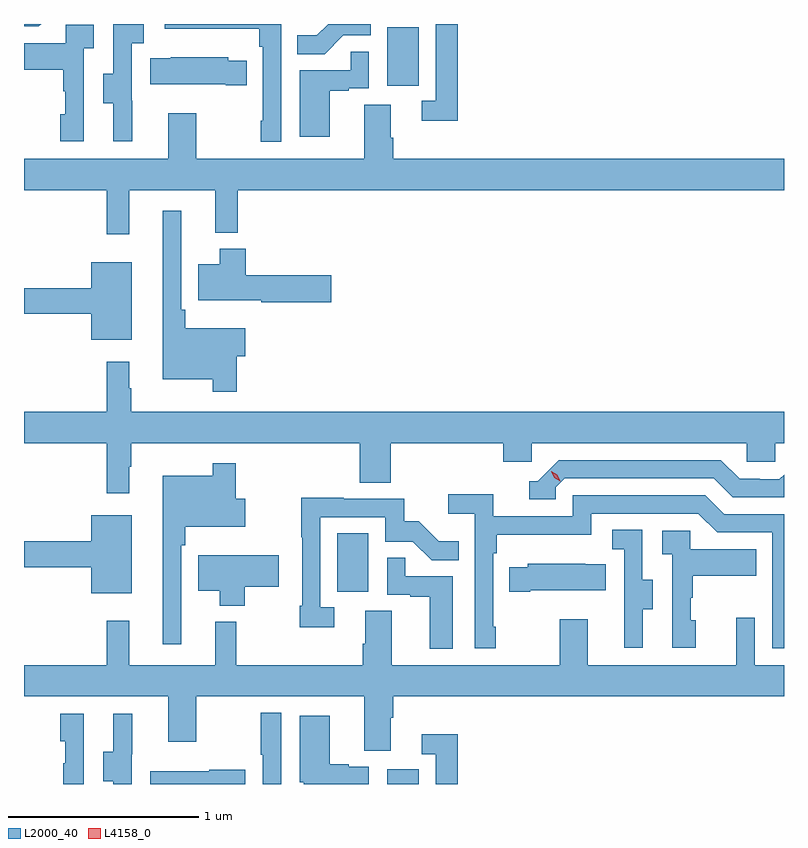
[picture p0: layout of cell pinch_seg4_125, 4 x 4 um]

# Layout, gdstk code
import gdstk
lib = gdstk.Library(unit=1e-6, precision=1e-09)
def R(c, l, rs):  # rectangles x0, y0, x1, y1
    for r in rs: c.add(gdstk.rectangle(r[:2], r[2:], *l))
def P(c, l, *ps):  # polygons
    for p in ps: c.add(gdstk.Polygon(p, *l))
L2000_40 = (2000, 40)
L4158_0 = (4158, 0)

pinch_seg4_125 = lib.new_cell('pinch_seg4_125')
R(pinch_seg4_125, L2000_40, [(1046.258,789.698,1046.422,789.775), (1045.994,790.71,1046.158,791.017), (1046.258,793.374,1046.422,793.681)])
P(pinch_seg4_125, L2000_40, [(1045.698,793.698),(1045.086,793.698),(1045.086,793.673),(1045.582,793.673),(1045.582,793.577),(1045.602,793.577),(1045.602,793.189),(1045.59,793.189),(1045.59,793.077),(1045.698,793.077)],
  [(1044.435,793.698),(1044.345,793.698),(1044.345,793.686),(1044.423,793.686)],
  [(1044.914,793.293),(1044.912,793.293),(1044.912,793.597),(1044.976,793.597),(1044.976,793.698),(1044.816,793.698),(1044.816,793.437),(1044.761,793.437),(1044.761,793.282),(1044.815,793.282),(1044.815,793.08),(1044.914,793.08)],
  [(1046.627,793.698),(1046.511,793.698),(1046.511,793.293),(1046.439,793.293),(1046.439,793.188),(1046.627,793.188)],
  [(1046.025,793.638),(1046.169,793.638),(1046.169,793.698),(1045.946,793.698),(1045.887,793.639),(1045.783,793.639),(1045.783,793.54),(1045.927,793.54)],
  [(1044.66,793.571),(1044.712,793.571),(1044.712,793.695),(1044.564,793.695),(1044.564,793.597),(1044.345,793.597),(1044.345,793.457),(1044.552,793.457),(1044.552,793.343),(1044.562,793.343),(1044.562,793.224),(1044.536,793.224),(1044.536,793.08),(1044.66,793.08)],
  [(1045.954,793.347),(1046.054,793.347),(1046.054,793.359),(1046.16,793.359),(1046.16,793.553),(1046.065,793.553),(1046.065,793.455),(1045.796,793.455),(1045.796,793.104),(1045.954,793.104)],
  [(1045.517,793.504),(1045.419,793.504),(1045.419,793.522),(1045.117,793.522),(1045.117,793.519),(1045.009,793.519),(1045.009,793.382),(1045.406,793.382),(1045.406,793.375),(1045.517,793.375)],
  [(1044.899,792.824),(1045.352,792.824),(1045.352,792.599),(1045.469,792.599),(1045.469,792.824),(1048.345,792.824),(1048.345,792.988),(1046.288,792.988),(1046.288,793.1),(1046.275,793.1),(1046.275,793.274),(1046.135,793.274),(1046.135,792.988),(1045.251,792.988),(1045.251,793.228),(1045.103,793.228),(1045.103,792.988),(1044.345,792.988),(1044.345,792.824),(1044.781,792.824),(1044.781,792.591),(1044.899,792.591)],
  [(1045.466,791.95),(1045.51,791.95),(1045.51,792.097),(1045.193,792.097),(1045.193,792.193),(1045.173,792.193),(1045.173,792.715),(1045.076,792.715),(1045.076,791.828),(1045.338,791.828),(1045.338,791.763),(1045.466,791.763)],
  [(1045.963,792.375),(1045.511,792.375),(1045.511,792.514),(1045.376,792.514),(1045.376,792.433),(1045.262,792.433),(1045.262,792.245),(1045.594,792.245),(1045.594,792.233),(1045.963,792.233)],
  [(1044.913,792.445),(1044.698,792.445),(1044.698,792.308),(1044.345,792.308),(1044.345,792.172),(1044.698,792.172),(1044.698,792.035),(1044.913,792.035)],
  [(1044.898,791.369),(1044.91,791.369),(1044.91,791.492),(1046.111,791.492),(1046.111,791.284),(1046.276,791.284),(1046.276,791.492),(1046.867,791.492),(1046.867,791.394),(1047.018,791.394),(1047.018,791.492),(1048.149,791.492),(1048.149,791.394),(1048.299,791.394),(1048.299,791.492),(1048.345,791.492),(1048.345,791.656),(1044.91,791.656),(1044.91,791.78),(1044.898,791.78),(1044.898,791.92),(1044.781,791.92),(1044.781,791.656),(1044.345,791.656),(1044.345,791.492),(1044.781,791.492),(1044.781,791.229),(1044.898,791.229)],
  [(1047.144,791.259),(1047.192,791.307),(1047.975,791.307),(1048.074,791.208),(1048.345,791.208),(1048.345,791.326),(1048.321,791.301),(1048.218,791.301),(1048.218,791.304),(1048.111,791.304),(1048.012,791.403),(1047.159,791.403),(1047.048,791.292),(1047.005,791.292),(1047.005,791.196),(1047.144,791.196)],
  [(1045.173,790.955),(1045.193,790.955),(1045.193,791.051),(1045.51,791.051),(1045.51,791.199),(1045.459,791.199),(1045.459,791.386),(1045.338,791.386),(1045.338,791.32),(1045.076,791.32),(1045.076,790.434),(1045.173,790.434)],
  [(1046.827,790.525),(1046.814,790.525),(1046.814,790.913),(1046.834,790.913),(1046.834,791.009),(1047.33,791.009),(1047.33,791.121),(1047.894,791.121),(1047.993,791.022),(1048.284,791.022),(1048.284,790.413),(1048.345,790.413),(1048.345,791.118),(1048.03,791.118),(1047.931,791.217),(1047.234,791.217),(1047.234,791.106),(1046.816,791.106),(1046.816,791.222),(1046.577,791.222),(1046.577,791.12),(1046.718,791.12),(1046.718,790.413),(1046.827,790.413)],
  [(1045.978,790.629),(1045.905,790.629),(1045.905,791.103),(1046.247,791.103),(1046.247,790.974),(1046.392,790.974),(1046.49,790.876),(1046.633,790.876),(1046.633,790.975),(1046.529,790.975),(1046.422,791.082),(1046.346,791.082),(1046.346,791.199),(1046.027,791.199),(1046.027,791.204),(1045.804,791.204),(1045.804,790.996),(1045.809,790.996),(1045.809,790.636),(1045.797,790.636),(1045.797,790.524),(1045.978,790.524)],
  [(1044.913,791.113),(1044.698,791.113),(1044.698,790.976),(1044.345,790.976),(1044.345,790.84),(1044.698,790.84),(1044.698,790.703),(1044.913,790.703)],
  [(1047.601,790.618),(1047.655,790.618),(1047.655,790.773),(1047.6,790.773),(1047.6,791.036),(1047.441,791.036),(1047.441,790.933),(1047.504,790.933),(1047.504,790.629),(1047.503,790.629),(1047.503,790.416),(1047.601,790.416)],
  [(1047.88,790.56),(1047.855,790.56),(1047.855,790.679),(1047.865,790.679),(1047.865,790.793),(1048.199,790.793),(1048.199,790.933),(1047.852,790.933),(1047.852,791.031),(1047.705,791.031),(1047.705,790.907),(1047.756,790.907),(1047.756,790.416),(1047.88,790.416)],
  [(1045.506,790.735),(1045.687,790.735),(1045.687,790.903),(1045.262,790.903),(1045.262,790.715),(1045.376,790.715),(1045.376,790.637),(1045.506,790.637)],
  [(1046.602,790.791),(1046.351,790.791),(1046.351,790.889),(1046.256,790.889),(1046.256,790.695),(1046.377,790.695),(1046.377,790.683),(1046.48,790.683),(1046.48,790.409),(1046.602,790.409)],
  [(1047.01,790.718),(1047.407,790.718),(1047.407,790.855),(1047.299,790.855),(1047.299,790.858),(1046.997,790.858),(1046.997,790.84),(1046.899,790.84),(1046.899,790.711),(1047.01,790.711)],
  [(1046.275,790.048),(1046.288,790.048),(1046.288,790.16),(1048.345,790.16),(1048.345,790.324),(1048.191,790.324),(1048.191,790.573),(1048.094,790.573),(1048.094,790.324),(1047.313,790.324),(1047.313,790.564),(1047.166,790.564),(1047.166,790.324),(1046.281,790.324),(1046.281,790.61),(1046.141,790.61),(1046.141,790.436),(1046.129,790.436),(1046.129,790.324),(1045.462,790.324),(1045.462,790.552),(1045.352,790.552),(1045.352,790.324),(1044.899,790.324),(1044.899,790.558),(1044.781,790.558),(1044.781,790.324),(1044.345,790.324),(1044.345,790.16),(1045.103,790.16),(1045.103,789.921),(1045.251,789.921),(1045.251,790.16),(1046.135,790.16),(1046.135,789.874),(1046.275,789.874)],
  [(1045.698,790.072),(1045.59,790.072),(1045.59,789.853),(1045.602,789.853),(1045.602,789.698),(1045.698,789.698)],
  [(1044.912,789.855),(1044.914,789.855),(1044.914,790.069),(1044.815,790.069),(1044.815,789.867),(1044.761,789.867),(1044.761,789.712),(1044.816,789.712),(1044.816,789.698),(1044.912,789.698)],
  [(1044.66,790.069),(1044.536,790.069),(1044.536,789.924),(1044.562,789.924),(1044.562,789.806),(1044.552,789.806),(1044.552,789.698),(1044.66,789.698)],
  [(1046.16,789.789),(1046.054,789.789),(1046.054,789.802),(1045.954,789.802),(1045.954,790.057),(1045.796,790.057),(1045.796,789.708),(1045.818,789.708),(1045.818,789.698),(1046.16,789.698)],
  [(1046.627,789.961),(1046.439,789.961),(1046.439,789.855),(1046.511,789.855),(1046.511,789.698),(1046.627,789.698)],
  [(1045.51,789.774),(1045.319,789.774),(1045.319,789.766),(1045.009,789.766),(1045.009,789.698),(1045.51,789.698)])
P(pinch_seg4_125, L4158_0, [(1047.167,791.292),(1047.136,791.311),(1047.12,791.344),(1047.12,791.344),(1047.12,791.344),(1047.151,791.325),(1047.167,791.292),(1047.167,791.292)])

lib.write_gds('pinch_seg4_125.gds')
